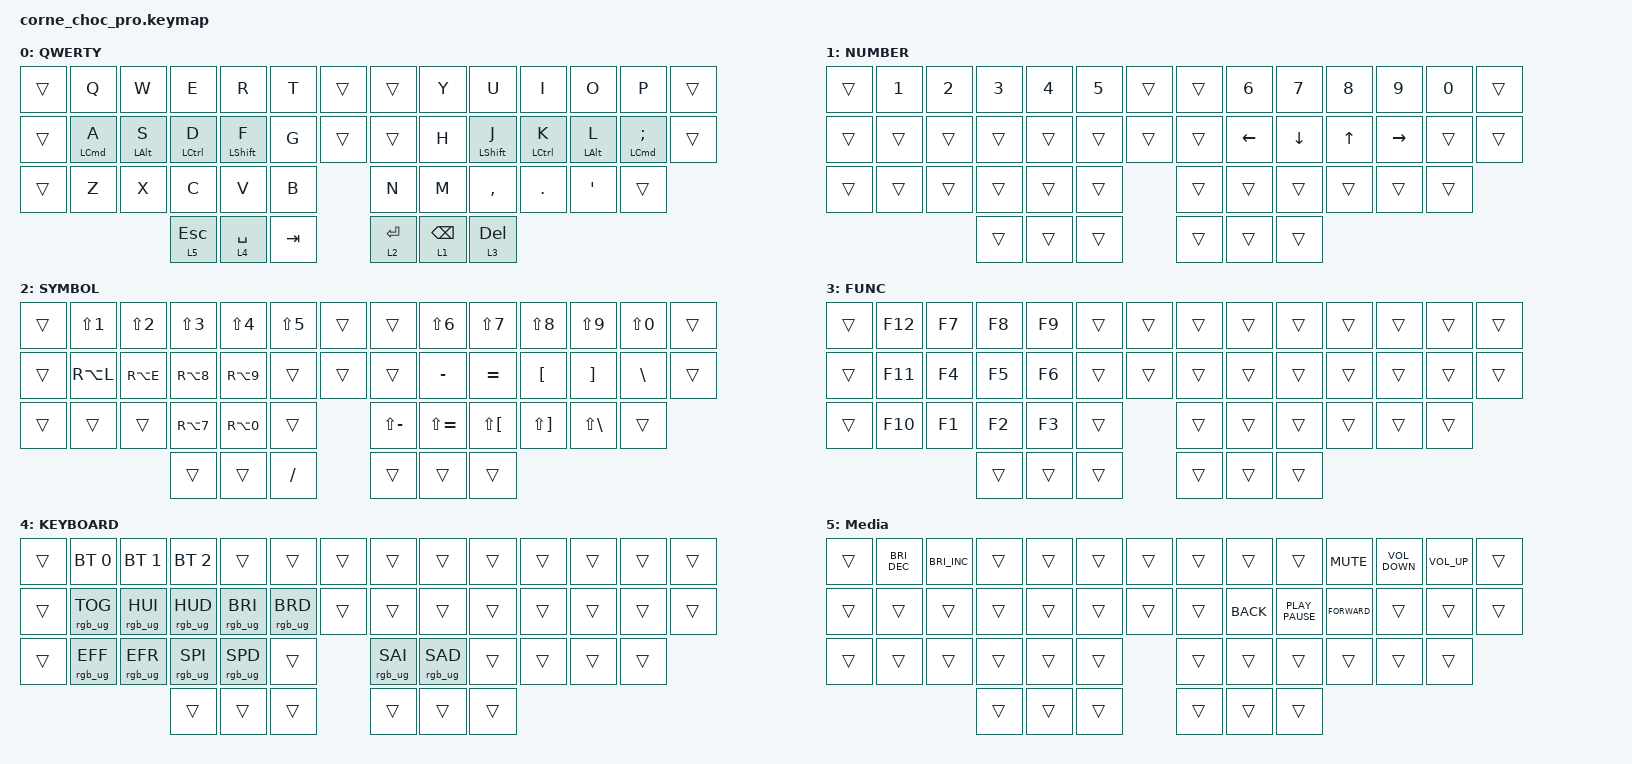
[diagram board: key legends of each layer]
#include <behaviors.dtsi>
#include <dt-bindings/zmk/backlight.h>
#include <dt-bindings/zmk/bt.h>
#include <dt-bindings/zmk/keys.h>
#include <dt-bindings/zmk/rgb.h>

/ {
    chosen {
        zmk,physical-layout = &default_layout;
    };

    behaviors {
        hrm: homerow_mods {
            compatible = "zmk,behavior-hold-tap";
            label = "HRM";
            #binding-cells = <2>;
            bindings = <&kp>, <&kp>;

            tapping-term-ms = <210>;
            quick-tap-ms = <175>;
            require-prior-idle-ms = <125>;
            flavor = "tap-preferred";
        };

        my_lt: my_layer_tap {
            compatible = "zmk,behavior-hold-tap";
            #binding-cells = <2>;
            bindings = <&mo>, <&kp>;

            flavor = "balanced";
            tapping-term-ms = <200>;
            quick-tap-ms = <175>;
        };
    };

    keymap {
        compatible = "zmk,keymap";

        QWERTY {
            bindings = <
&trans  &kp Q               &kp W           &kp E               &kp R             &kp T       &trans &trans     &kp Y        &kp U             &kp I               &kp O           &kp P                  &trans
&trans  &hrm LEFT_COMMAND A  &hrm LEFT_ALT S  &hrm LEFT_CONTROL D  &hrm LEFT_SHIFT F  &kp G       &trans &trans     &kp H        &hrm LEFT_SHIFT J  &hrm LEFT_CONTROL K  &hrm LEFT_ALT L  &hrm LEFT_COMMAND SEMI  &trans
&trans  &kp Z               &kp X           &kp C               &kp V             &kp B      &kp N        &kp M             &kp COMMA           &kp DOT         &kp SQT                &trans
                                            &my_lt 5 ESC             &my_lt 4 SPACE       &kp TAB    &my_lt 2 ENTER  &my_lt 1 BACKSPACE   &my_lt 3 DELETE
            >;
        };

        NUMBER {
            bindings = <
&trans  &kp NUMBER_1  &kp NUMBER_2  &kp NUMBER_3  &kp NUMBER_4  &kp NUMBER_5       &trans &trans   &kp NUMBER_6  &kp NUMBER_7  &kp NUMBER_8  &kp NUMBER_9     &kp NUMBER_0  &trans
&trans  &trans        &trans        &trans        &trans        &trans       &trans &trans         &kp LEFT      &kp DOWN      &kp UP_ARROW  &kp RIGHT_ARROW  &trans        &trans
&trans  &trans        &trans        &trans        &trans        &trans          &trans        &trans        &trans        &trans           &trans        &trans
                                    &trans        &trans        &trans          &trans        &trans        &trans
            >;
        };

        SYMBOL {
            bindings = <
&trans  &kp LS(NUMBER_1)  &kp LS(NUMBER_2)  &kp LS(NUMBER_3)  &kp LS(NUMBER_4)  &kp LS(NUMBER_5)       &trans &trans   &kp LS(NUMBER_6)  &kp LS(NUMBER_7)  &kp LS(NUMBER_8)      &kp LS(NUMBER_9)       &kp LS(NUMBER_0)   &trans
&trans  &kp RA(L)       &kp RA(E)            &kp RA(NUMBER_8)            &kp RA(NUMBER_9)            &trans       &trans &trans             &kp MINUS         &kp EQUAL         &kp LEFT_BRACKET      &kp RIGHT_BRACKET      &kp BACKSLASH      &trans
&trans  &trans            &trans            &kp RA(NUMBER_7)            &kp RA(NUMBER_0)            &trans              &kp LS(MINUS)     &kp LS(EQUAL)     &kp LS(LEFT_BRACKET)  &kp LS(RIGHT_BRACKET)  &kp LS(BACKSLASH)  &trans
                                            &trans            &trans            &kp SLASH           &trans            &trans            &trans
            >;
        };

        FUNC {
            bindings = <
&trans  &kp F12  &kp F7  &kp F8  &kp F9  &trans       &trans &trans   &trans  &trans  &trans  &trans  &trans  &trans
&trans  &kp F11  &kp F4  &kp F5  &kp F6  &trans       &trans &trans   &trans  &trans  &trans  &trans  &trans  &trans
&trans  &kp F10  &kp F1  &kp F2  &kp F3  &trans    &trans  &trans  &trans  &trans  &trans  &trans
                         &trans  &trans  &trans    &trans  &trans  &trans
            >;
        };

        KEYBOARD {
            bindings = <
&trans  &bt BT_SEL 0  &bt BT_SEL 1  &bt BT_SEL 2  &trans  &trans       &trans &trans   &trans  &trans  &trans  &trans  &trans  &trans
&trans  &rgb_ug RGB_TOG        &rgb_ug RGB_HUI        &rgb_ug RGB_HUD        &rgb_ug RGB_BRI  &rgb_ug RGB_BRD       &trans &trans   &trans  &trans  &trans  &trans  &trans  &trans
&trans  &rgb_ug RGB_EFF    &rgb_ug RGB_EFR        &rgb_ug RGB_SPI        &rgb_ug RGB_SPD  &trans    &rgb_ug RGB_SAI  &rgb_ug RGB_SAD  &trans  &trans  &trans  &trans
                                    &trans        &trans  &trans    &trans  &trans  &trans
            >;
        };

        Media {
            bindings = <
&trans  &kp C_BRIGHTNESS_DEC  &kp C_BRIGHTNESS_INC  &trans  &trans  &trans  &trans &trans    &trans      &trans            &kp C_MUTE     &kp C_VOLUME_DOWN  &kp C_VOLUME_UP  &trans
&trans  &trans                &trans                &trans  &trans  &trans  &trans &trans    &kp K_BACK  &kp K_PLAY_PAUSE  &kp K_FORWARD  &trans             &trans           &trans
&trans  &trans                &trans                &trans  &trans  &trans    &trans      &trans            &trans         &trans             &trans           &trans
                                                    &trans  &trans  &trans    &trans      &trans            &trans
            >;
        };
    };
};

